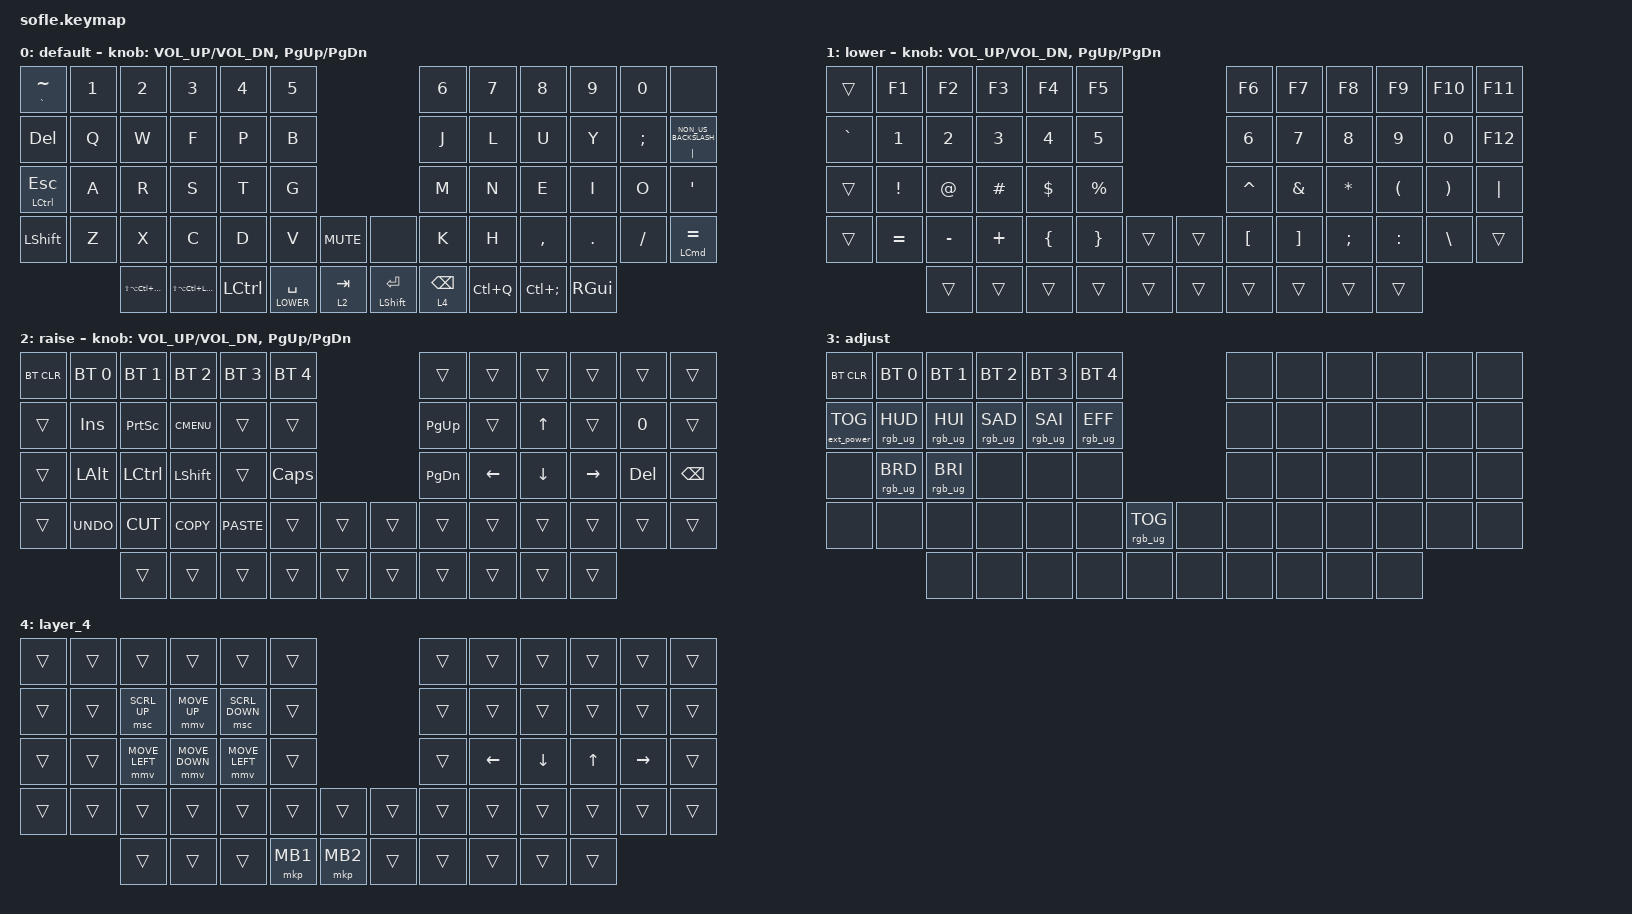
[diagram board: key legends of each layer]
/*
 * Copyright (c) 2020 The ZMK Contributors
 *
 * SPDX-License-Identifier: MIT
 */

#include <behaviors.dtsi>
#include <dt-bindings/zmk/bt.h>
#include <dt-bindings/zmk/ext_power.h>
#include <dt-bindings/zmk/keys.h>
#include <dt-bindings/zmk/pointing.h>
#include <dt-bindings/zmk/pointing.h>
#include <dt-bindings/zmk/pointing.h>
#include <dt-bindings/zmk/rgb.h>

//Custom
#include <dt-bindings/zmk/pointing.h>


#define BASE 0
#define LOWER 1
#define RAISE 2
#define ADJUST 3

//Custom
#define ZMK_POINTING_DEFAULT_MOVE_VAL 2000  // default: 600
#define ZMK_POINTING_DEFAULT_SCRL_VAL 20    // default: 10

/ {
    // Activate ADJUST layer by pressing raise and lower

    conditional_layers {
        compatible = "zmk,conditional-layers";

        adjust_layer {
            if-layers = <LOWER RAISE>;
            then-layer = <ADJUST>;
        };
    };

    keymap {
        compatible = "zmk,keymap";

        default_layer {
            display-name = "default";

            // ------------------------------------------------------------------------------------------------------------
            // |   `   |  1  |  2  |  3   |  4   |  5   |                   |  6   |  7    |  8    |  9   |   0   |       |
            // |  ESC  |  Q  |  W  |  E   |  R   |  T   |                   |  Y   |  U    |  I    |  O   |   P   | BKSPC |
            // |  TAB  |  A  |  S  |  D   |  F   |  G   |                   |  H   |  J    |  K    |  L   |   ;   |   '   |
            // | SHIFT |  Z  |  X  |  C   |  V   |  B   |  MUTE  |  |       |  N   |  M    |  ,    |  .   |   /   | SHIFT |
            //               | GUI | ALT  | CTRL | LOWER|  ENTER |  | SPACE | RAISE| CTRL  | ALT   | GUI  |

            bindings = <
&mt GRAVE TILDE   &kp N1  &kp N2                    &kp N3                &kp N4     &kp N5                                               &kp N6           &kp N7     &kp N8             &kp N9    &kp N0         &none
&kp DELETE        &kp Q   &kp W                     &kp F                 &kp P      &kp B                                                &kp J            &kp L      &kp U              &kp Y     &kp SEMICOLON  &mt PIPE NON_US_BACKSLASH
&mt LCTRL ESCAPE  &kp A   &kp R                     &kp S                 &kp T      &kp G                                                &kp M            &kp N      &kp E              &kp I     &kp O          &kp SQT
&kp LSHFT         &kp Z   &kp X                     &kp C                 &kp D      &kp V            &kp C_MUTE    &none                 &kp K            &kp H      &kp COMMA          &kp DOT   &kp FSLH       &mt LEFT_COMMAND EQUAL
                          &kp LS(LA(LC(LG(LGUI))))  &kp LS(LA(LC(LALT)))  &kp LCTRL  &lt LOWER SPACE  &lt 2 TAB     &mt LEFT_SHIFT ENTER  &lt 4 BACKSPACE  &kp LC(Q)  &kp LC(SEMICOLON)  &kp RGUI
            >;

            sensor-bindings = <&inc_dec_kp C_VOL_UP C_VOL_DN &inc_dec_kp PG_UP PG_DN>;
        };

        lower_layer {
            display-name = "lower";

            // TODO: Some binds are waiting for shifted keycode support.
            // ------------------------------------------------------------------------------------------------------------
            // |       |  F1 |  F2 |  F3  |  F4  |  F5  |                   |  F6  |  F7   |  F8   |  F9  |  F10  |  F11  |
            // |   `   |  1  |  2  |  3   |  4   |  5   |                   |  6   |  7    |  8    |  9   |   0   |  F12  |
            // |       |  !  |  @  |  #   |  $   |  %   |                   |  ^   |  &    |  *    |  (   |   )   |   |   |
            // |       |  =  |  -  |  +   |  {   |  }   |        |  |       |  [   |  ]    |  ;    |  :   |   \   |       |
            //               |     |      |      |      |        |  |       |      |       |       |      |

            bindings = <
&trans     &kp F1     &kp F2     &kp F3    &kp F4    &kp F5                       &kp F6     &kp F7    &kp F8     &kp F9     &kp F10   &kp F11
&kp GRAVE  &kp N1     &kp N2     &kp N3    &kp N4    &kp N5                       &kp N6     &kp N7    &kp N8     &kp N9     &kp N0    &kp F12
&trans     &kp EXCL   &kp AT     &kp HASH  &kp DLLR  &kp PRCNT                    &kp CARET  &kp AMPS  &kp ASTRK  &kp LPAR   &kp RPAR  &kp PIPE
&trans     &kp EQUAL  &kp MINUS  &kp PLUS  &kp LBRC  &kp RBRC   &trans    &trans  &kp LBKT   &kp RBKT  &kp SEMI   &kp COLON  &kp BSLH  &trans
                      &trans     &trans    &trans    &trans     &trans    &trans  &trans     &trans    &trans     &trans
            >;

            sensor-bindings = <&inc_dec_kp C_VOL_UP C_VOL_DN &inc_dec_kp PG_UP PG_DN>;
        };

        raise_layer {
            display-name = "raise";

            // ------------------------------------------------------------------------------------------------------------
            // | BTCLR | BT1  | BT2  |  BT3  |  BT4  |  BT5 |                |      |      |       |      |       |       |
            // |       | INS  | PSCR | GUI   |       |      |                | PGUP |      |   ^   |      |       |       |
            // |       | ALT  | CTRL | SHIFT |       | CAPS |                | PGDN |   <- |   v   |  ->  |  DEL  | BKSPC |
            // |       | UNDO | CUT  | COPY  | PASTE |      |      |  |      |      |      |       |      |       |       |
            //                |      |       |       |      |      |  |      |      |      |       |      |

            bindings = <
&bt BT_CLR  &bt BT_SEL 0  &bt BT_SEL 1  &bt BT_SEL 2  &bt BT_SEL 3  &bt BT_SEL 4                    &trans     &trans    &trans    &trans     &trans   &trans
&trans      &kp INS       &kp PSCRN     &kp K_CMENU   &trans        &trans                          &kp PG_UP  &trans    &kp UP    &trans     &kp N0   &trans
&trans      &kp LALT      &kp LCTRL     &kp LSHFT     &trans        &kp CLCK                        &kp PG_DN  &kp LEFT  &kp DOWN  &kp RIGHT  &kp DEL  &kp BSPC
&trans      &kp K_UNDO    &kp K_CUT     &kp K_COPY    &kp K_PASTE   &trans        &trans    &trans  &trans     &trans    &trans    &trans     &trans   &trans
                          &trans        &trans        &trans        &trans        &trans    &trans  &trans     &trans    &trans    &trans
            >;

            sensor-bindings = <&inc_dec_kp C_VOL_UP C_VOL_DN &inc_dec_kp PG_UP PG_DN>;
        };

        adjust_layer {
            // ----------------------------------------------------------------------------------------------------------------------------
            // | BTCLR  |  BT1    |  BT2    |   BT3   |   BT4   |   BT5   |                  |      |      |       |      |       |       |
            // | EXTPWR | RGB_HUD | RGB_HUI | RGB_SAD | RGB_SAI | RGB_EFF |                  |      |      |       |      |       |       |
            // |        | RGB_BRD | RGB_BRI |         |         |         |                  |      |      |       |      |       |       |
            // |        |         |         |         |         |         | RGB_TOG | |      |      |      |       |      |       |       |
            //                    |         |         |         |         |         | |      |      |      |       |      |

            display-name = "adjust";
            bindings = <
&bt BT_CLR         &bt BT_SEL 0     &bt BT_SEL 1     &bt BT_SEL 2     &bt BT_SEL 3     &bt BT_SEL 4                               &none  &none  &none  &none  &none  &none
&ext_power EP_TOG  &rgb_ug RGB_HUD  &rgb_ug RGB_HUI  &rgb_ug RGB_SAD  &rgb_ug RGB_SAI  &rgb_ug RGB_EFF                            &none  &none  &none  &none  &none  &none
&none              &rgb_ug RGB_BRD  &rgb_ug RGB_BRI  &none            &none            &none                                      &none  &none  &none  &none  &none  &none
&none              &none            &none            &none            &none            &none            &rgb_ug RGB_TOG    &none  &none  &none  &none  &none  &none  &none
                                    &none            &none            &none            &none            &none              &none  &none  &none  &none  &none
            >;
        };

        layer_4 {
            bindings = <
&trans  &trans  &trans          &trans          &trans          &trans                        &trans  &trans          &trans          &trans        &trans     &trans
&trans  &trans  &msc SCRL_UP    &mmv MOVE_UP    &msc SCRL_DOWN  &trans                        &trans  &trans          &trans          &trans        &trans     &trans
&trans  &trans  &mmv MOVE_LEFT  &mmv MOVE_DOWN  &mmv MOVE_LEFT  &trans                        &trans  &kp LEFT_ARROW  &kp DOWN_ARROW  &kp UP_ARROW  &kp RIGHT  &trans
&trans  &trans  &trans          &trans          &trans          &trans    &trans      &trans  &trans  &trans          &trans          &trans        &trans     &trans
                &trans          &trans          &trans          &mkp MB1  &mkp MB2    &trans  &trans  &trans          &trans          &trans
            >;
        };
    };
};
